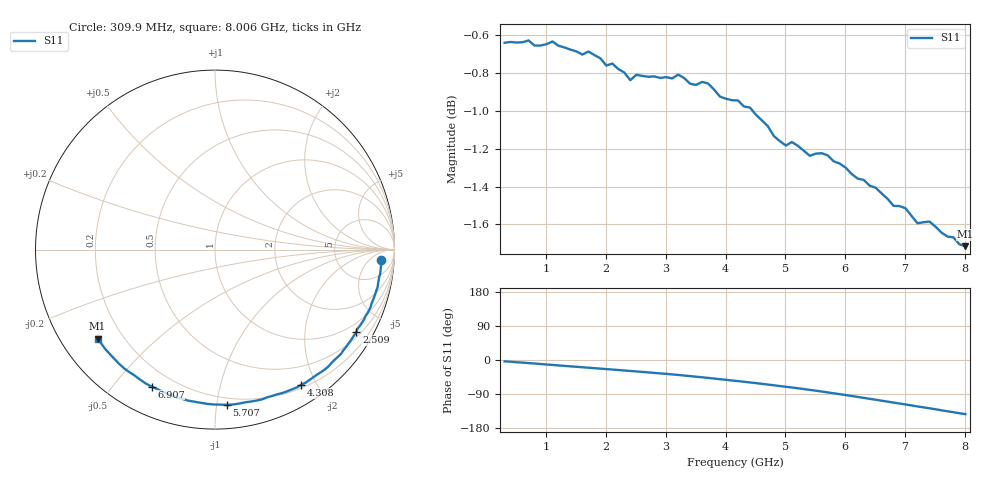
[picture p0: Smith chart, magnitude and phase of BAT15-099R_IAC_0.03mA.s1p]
! Infineon Technologies  Discrete & RF Semiconductors
! BAT15-099R
! IAC = 0.03 mA
! One-Port S-Parameters
# Hz  S  MA  R  50
!f  S11
!Hz  Mag  Ang
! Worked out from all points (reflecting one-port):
!   78 points, 309.9 MHz to 8.006 GHz, reference 50 ohm
!   lowest |S11| = -1.7 dB at 8.006 GHz (marker M1), VSWR 10.16, Z = 5.47 - j16.6 ohm
!   phase of S11 starts at -4 deg and turns -139 deg over the sweep
!   S11 on the Smith chart (normalised r, x): 309.9 MHz: 16, -13; 2.509 GHz: 0.67, -3.60; 4.308 GHz: 0.24, -1.80; 5.707 GHz: 0.15, -1.07; 6.907 GHz: 0.12, -0.63; 8.006 GHz: 0.11, -0.33
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3.0985e8  0.9291 -3.6
7.0965e8  0.9304 -8.2
1.10945e9  0.9298 -13.0
1.30935e9  0.9264 -15.5
1.70915e9  0.9241 -20.3
2.10895e9  0.9174 -25.2
2.30885e9  0.9124 -27.7
2.4088e9  0.9081 -29.0
2.50875e9  0.9111 -30.1
3.0085e9  0.9098 -36.6
3.2084e9  0.9112 -39.4
3.70815e9  0.9063 -47.3
4.2079e9  0.897 -55.7
4.30785e9  0.8937 -57.4
4.4078e9  0.8931 -59.2
4.70765e9  0.883 -64.8
5.2074e9  0.8726 -74.5
5.70715e9  0.8675 -85.5
5.90705e9  0.8631 -90.2
6.10695e9  0.8577 -95.0
6.30685e9  0.8546 -99.9
6.50675e9  0.8505 -104.9
6.90655e9  0.8411 -114.8
7.10645e9  0.836 -119.9
7.4063e9  0.8332 -127.4
7.6062e9  0.8276 -132.8
7.8061e9  0.8252 -137.8
8.006e9  0.8208 -142.8
